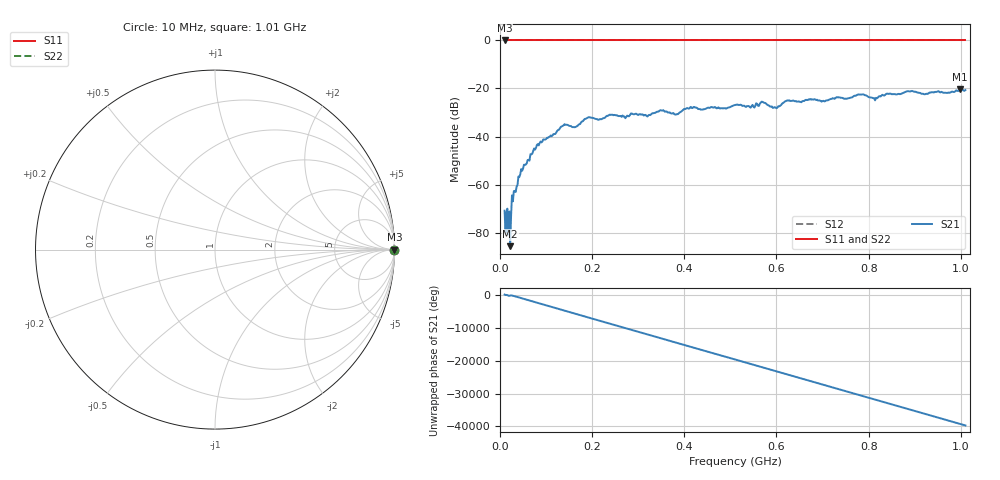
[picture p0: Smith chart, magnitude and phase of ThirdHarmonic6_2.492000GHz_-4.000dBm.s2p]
! 8/17/2025 4:43:13 AM
! C:\ANRITSUVNA\TEMP\TEMP.S2P
! CHANNEL.1
! TR.MEASUREMENT
! RAW.DATA
! RF.CORRECTION.OFF
! AVERAGING.OFF
! IF.BANDWIDTH: 5KHZ
! SWEEPTYPE:  FREQ.SWEEP(Linear)
! Reference Plane Port Info
! PORT:  PORT1  PORT2
! DISTANCE:  0  m  0  m
! TIME:  0  s  0  s
! PHASE.OFFSET:  0  deg.  0  deg.
! LOSS:  0  dB  0  dB
! REF.LOSS:  0  dB  0  dB
! REF.FREQ:  0  Hz  0  Hz
! Power Info
! POWER:  -20  dBm  -20  dBm
! EFF.POWER:  -20  dBm  -20  dBm
! SOURCE.ATTEN:  0  dB  0  dB
! TEST.ATTEN:  0  dB  0  dB
# GHZ S RI R 50.0
! FREQ.GHZ  S11RE  S11IM  S21RE  S21IM  S12RE  S12IM  S22RE  S22IM
!; PortSelection: Port_12
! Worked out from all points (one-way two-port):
!   501 points, 10 MHz to 1.01 GHz, reference 50 ohm
!   highest |S21| = -20.33 dB at 998 MHz (marker M1); lowest = -85.6 dB at 22 MHz (marker M2)
!   lowest |S11| = 0.0 dB at 10 MHz (marker M3)
!   |S11| at or under -10 dB: nowhere
!   |S22| runs from 0.0 to 0.0 dB; largest |S21 - S12| = 1.1
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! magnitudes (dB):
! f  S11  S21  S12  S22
! 10 MHz  0.0  -70.9  0.0  0.0
! 22 MHz  0.0  -85.6  0.0  0.0
! 30 MHz  0.0  -62.7  0.0  0.0
! 44 MHz  0.0  -55.7  0.0  0.0
! 78 MHz  0.0  -44.8  0.0  0.0
! 136 MHz  0.0  -35.6  0.0  0.0
! 162 MHz  0.0  -36.1  0.0  0.0
! 178 MHz  0.0  -33.7  0.0  0.0
! 344 MHz  0.0  -29.6  0.0  0.0
! 382 MHz  0.0  -30.8  0.0  0.0
! 410 MHz  0.0  -28.4  0.0  0.0
! 510 MHz  0.0  -26.9  0.0  0.0
! 548 MHz  0.0  -26.8  0.0  0.0
! 570 MHz  0.0  -25.6  0.0  0.0
! 598 MHz  0.0  -27.9  0.0  0.0
! 624 MHz  0.0  -24.9  0.0  0.0
! 678 MHz  0.0  -24.5  0.0  0.0
! 784 MHz  0.0  -22.5  0.0  0.0
! 814 MHz  0.0  -24.9  0.0  0.0
! 844 MHz  0.0  -22.2  0.0  0.0
! 998 MHz  0.0  -20.3  0.0  0.0
! 1.01 GHz  0.0  -20.7  0.0  0.0
